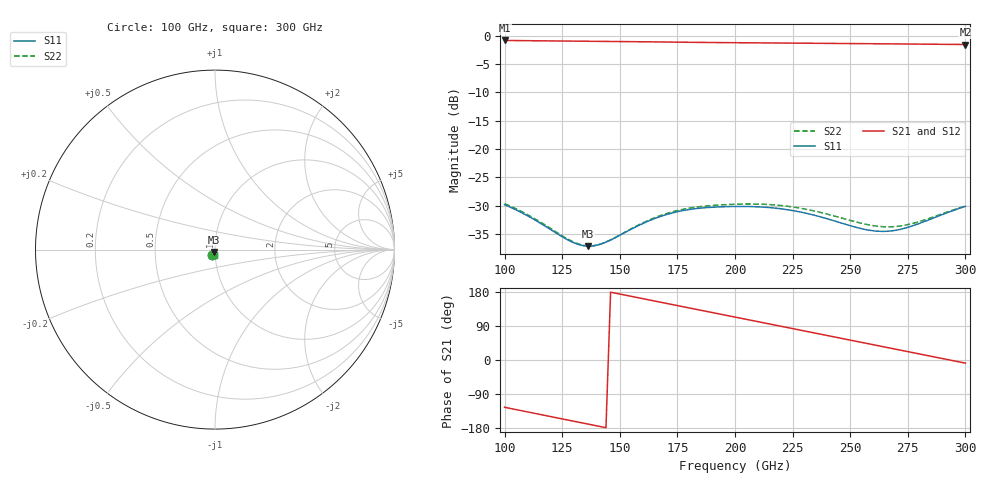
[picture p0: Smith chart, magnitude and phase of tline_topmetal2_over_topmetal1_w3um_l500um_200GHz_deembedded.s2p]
! Created with skrf 2.2.0 (http://scikit-rf.org).
# GHz S DB R 50.0
! Port[1] = P1
! Port[2] = P2
!freq dBS11 angS11 dBS21 angS21 dBS12 angS12 dBS22 angS22
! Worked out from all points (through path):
!   101 points, 100 GHz to 300 GHz, reference 50 ohm
!   highest |S21| = -0.83 dB at 100 GHz (marker M1); lowest = -1.5 dB at 300 GHz (marker M2)
!   group delay of S21, straight-line fit = 3.38 ps
!   lowest |S11| = -37.1 dB at 136 GHz (marker M3), VSWR 1.03, Z = 49.5 - j1.31 ohm
!   |S11| at or under -10 dB: start of sweep to end of sweep
!   |S22| runs from -37.1 to -29.6 dB; largest |S21 - S12| = 1.5e-14
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100  -29.80 -122.4  -0.83 -124.8  -0.83 -124.8  -29.62 -122.6
110  -31.77 -129.2  -0.87 -137.0  -0.87 -137.0  -31.58 -129.5
118  -33.69 -130.5  -0.90 -146.8  -0.90 -146.8  -33.49 -131.0
128  -36.14 -123.1  -0.94 -159.0  -0.94 -159.0  -36.00 -123.9
134  -37.03 -112.7  -0.96 -166.4  -0.96 -166.4  -36.96 -113.4
136  -37.12 -108.6  -0.97 -168.8  -0.97 -168.8  -37.08 -109.2
142  -36.72 -97.1  -0.99 -176.2  -0.99 -176.2  -36.71 -97.1
152  -34.76 -86.8  -1.03 171.6  -1.03 171.6  -34.71 -85.9
168  -31.84 -89.3  -1.09 152.1  -1.09 152.1  -31.67 -87.8
184  -30.45 -100.1  -1.16 132.6  -1.16 132.6  -30.19 -98.2
200  -30.12 -110.1  -1.22 113.3  -1.22 113.3  -29.72 -108.0
210  -30.18 -115.9  -1.25 101.2  -1.25 101.2  -29.70 -113.8
218  -30.44 -120.5  -1.27 91.4  -1.27 91.4  -29.88 -118.4
226  -30.91 -124.4  -1.30 81.7  -1.30 81.7  -30.27 -122.6
234  -31.62 -127.2  -1.32 72.0  -1.32 72.0  -30.88 -125.6
250  -33.51 -125.5  -1.37 52.5  -1.37 52.5  -32.58 -125.6
260  -34.41 -117.3  -1.41 40.4  -1.41 40.4  -33.50 -119.4
268  -34.42 -108.0  -1.43 30.6  -1.43 30.6  -33.70 -111.5
276  -33.68 -99.8  -1.46 20.9  -1.46 20.9  -33.23 -103.7
284  -32.50 -95.1  -1.48 11.2  -1.48 11.2  -32.26 -98.4
292  -31.24 -94.0  -1.51 1.5  -1.51 1.5  -31.12 -96.4
300  -30.10 -95.6  -1.54 -8.2  -1.54 -8.2  -30.03 -97.1
